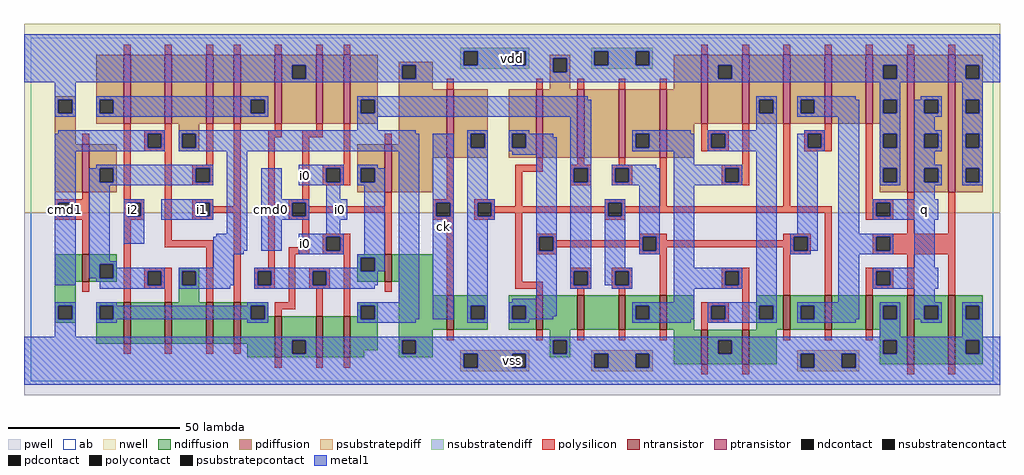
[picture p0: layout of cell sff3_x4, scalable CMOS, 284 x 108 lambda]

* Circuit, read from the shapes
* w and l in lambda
.subckt sff3_x4 ck cmd0 cmd1 i0 i1 i2 q vdd vss
M1 n1 cmd1 vss vss nfet w=8 l=2
M2 n2 i2 n3 vss nfet w=12 l=2
M3 n4 n1 n2 vss nfet w=12 l=2
M4 n5 cmd1 n4 vss nfet w=12 l=2
M5 n3 i1 n5 vss nfet w=12 l=2
M6 vss cmd0 n3 vss nfet w=12 l=2
M7 n6 n7 vss vss nfet w=12 l=2
M8 n4 i0 n6 vss nfet w=12 l=2
M9 vss cmd0 n7 vss nfet w=8 l=2
M10 n8 ck vss vss nfet w=10 l=2
M11 vss n8 n9 vss nfet w=10 l=2
M12 n10 n4 vss vss nfet w=10 l=2
M13 n11 n8 n10 vss nfet w=10 l=2
M14 n12 n9 n11 vss nfet w=10 l=2
M15 vss n13 n12 vss nfet w=10 l=2
M16 n13 n11 vss vss nfet w=10 l=2
M17 n14 n9 n13 vss nfet w=10 l=2
M18 n15 n8 n14 vss nfet w=10 l=2
M19 vss q n15 vss nfet w=10 l=2
M20 q n14 vss vss nfet w=20 l=2 m=2
M21 n1 cmd1 vdd vdd pfet w=14 l=2
M22 n16 i2 n17 vdd pfet w=20 l=2
M23 n4 cmd1 n16 vdd pfet w=20 l=2
M24 n18 n1 n4 vdd pfet w=20 l=2
M25 n17 i1 n18 vdd pfet w=20 l=2
M26 vdd n7 n17 vdd pfet w=20 l=2
M27 n19 cmd0 vdd vdd pfet w=20 l=2
M28 n4 i0 n19 vdd pfet w=20 l=2
M29 vdd cmd0 n7 vdd pfet w=14 l=2
M30 n8 ck vdd vdd pfet w=20 l=2
M31 vdd n8 n9 vdd pfet w=20 l=2
M32 n20 n4 vdd vdd pfet w=20 l=2
M33 n11 n9 n20 vdd pfet w=20 l=2
M34 n21 n8 n11 vdd pfet w=20 l=2
M35 vdd n13 n21 vdd pfet w=20 l=2
M36 n13 n11 vdd vdd pfet w=20 l=2
M37 n14 n8 n13 vdd pfet w=20 l=2
M38 n22 n9 n14 vdd pfet w=20 l=2
M39 vdd q n22 vdd pfet w=20 l=2
M40 q n14 vdd vdd pfet w=40 l=2 m=2
.ends

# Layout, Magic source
magic
tech scmos
<< ab >>
rect 0 0 280 100
<< pwell >>
rect -2 -4 282 49
<< nwell >>
rect -2 49 282 104
<< polysilicon >>
rect 27 95 29 98
rect 39 95 41 98
rect 51 95 53 98
rect 59 95 61 98
rect 71 95 73 98
rect 83 95 85 98
rect 91 95 93 98
rect 195 95 197 98
rect 207 95 209 98
rect 219 95 221 98
rect 231 95 233 98
rect 243 95 245 98
rect 255 95 257 98
rect 267 95 269 98
rect 121 85 123 88
rect 147 85 149 88
rect 159 85 161 88
rect 171 85 173 88
rect 183 85 185 88
rect 15 69 17 72
rect 15 53 17 55
rect 7 52 17 53
rect 7 48 8 52
rect 12 48 17 52
rect 7 47 17 48
rect 15 37 17 47
rect 27 53 29 75
rect 39 73 41 75
rect 33 72 41 73
rect 33 68 34 72
rect 38 68 41 72
rect 33 67 41 68
rect 27 52 33 53
rect 27 48 28 52
rect 32 48 33 52
rect 27 47 33 48
rect 15 26 17 29
rect 27 23 29 47
rect 39 41 41 67
rect 51 63 53 75
rect 47 62 53 63
rect 47 58 48 62
rect 52 58 53 62
rect 47 57 53 58
rect 47 52 53 53
rect 47 48 48 52
rect 52 51 53 52
rect 59 51 61 75
rect 71 73 73 75
rect 83 73 85 75
rect 52 49 61 51
rect 52 48 53 49
rect 47 47 53 48
rect 39 39 53 41
rect 33 32 41 33
rect 33 28 34 32
rect 38 28 41 32
rect 33 27 41 28
rect 39 23 41 27
rect 51 23 53 39
rect 59 23 61 49
rect 69 71 73 73
rect 79 71 85 73
rect 69 33 71 71
rect 79 53 81 71
rect 91 63 93 75
rect 103 69 105 72
rect 85 62 93 63
rect 85 58 86 62
rect 90 58 93 62
rect 85 57 93 58
rect 195 73 197 75
rect 195 72 203 73
rect 195 68 198 72
rect 202 68 203 72
rect 195 67 203 68
rect 75 52 81 53
rect 75 48 76 52
rect 80 51 81 52
rect 103 51 105 55
rect 121 53 123 65
rect 147 63 149 65
rect 159 63 161 65
rect 171 63 173 65
rect 141 61 149 63
rect 157 62 163 63
rect 80 49 105 51
rect 80 48 81 49
rect 75 47 81 48
rect 79 39 81 47
rect 65 32 71 33
rect 65 28 66 32
rect 70 28 71 32
rect 65 27 71 28
rect 75 37 81 39
rect 85 42 93 43
rect 85 38 86 42
rect 90 38 93 42
rect 85 37 93 38
rect 103 37 105 49
rect 117 52 123 53
rect 117 48 118 52
rect 122 48 123 52
rect 117 47 123 48
rect 129 52 135 53
rect 129 48 130 52
rect 134 51 135 52
rect 141 51 143 61
rect 157 58 158 62
rect 162 58 163 62
rect 157 57 163 58
rect 169 62 175 63
rect 169 58 170 62
rect 174 58 175 62
rect 169 57 175 58
rect 167 52 173 53
rect 167 51 168 52
rect 134 49 168 51
rect 134 48 135 49
rect 129 47 135 48
rect 75 23 77 37
rect 81 32 87 33
rect 81 28 82 32
rect 86 28 87 32
rect 81 27 87 28
rect 71 21 77 23
rect 71 19 73 21
rect 83 19 85 27
rect 91 19 93 37
rect 103 26 105 29
rect 121 25 123 47
rect 141 29 143 49
rect 167 48 168 49
rect 172 51 173 52
rect 183 51 185 65
rect 207 63 209 75
rect 201 62 209 63
rect 201 58 202 62
rect 206 58 209 62
rect 201 57 209 58
rect 219 51 221 75
rect 231 73 233 75
rect 225 72 233 73
rect 225 68 226 72
rect 230 68 233 72
rect 225 67 233 68
rect 243 53 245 75
rect 243 52 251 53
rect 172 49 233 51
rect 172 48 173 49
rect 167 47 173 48
rect 147 42 153 43
rect 147 38 148 42
rect 152 41 153 42
rect 177 42 185 43
rect 177 41 178 42
rect 152 39 178 41
rect 152 38 153 39
rect 147 37 153 38
rect 177 38 178 39
rect 182 41 185 42
rect 219 42 227 43
rect 219 41 222 42
rect 182 39 222 41
rect 182 38 185 39
rect 177 37 185 38
rect 157 32 163 33
rect 141 27 149 29
rect 157 28 158 32
rect 162 28 163 32
rect 157 27 163 28
rect 169 32 175 33
rect 169 28 170 32
rect 174 28 175 32
rect 169 27 175 28
rect 147 25 149 27
rect 159 25 161 27
rect 171 25 173 27
rect 183 25 185 37
rect 219 38 222 39
rect 226 38 227 42
rect 219 37 227 38
rect 201 32 209 33
rect 201 28 202 32
rect 206 28 209 32
rect 201 27 209 28
rect 27 8 29 11
rect 39 8 41 11
rect 51 8 53 11
rect 59 8 61 11
rect 195 22 203 23
rect 195 18 198 22
rect 202 18 203 22
rect 195 17 203 18
rect 195 15 197 17
rect 207 15 209 27
rect 219 25 221 37
rect 231 25 233 49
rect 243 48 246 52
rect 250 48 251 52
rect 243 47 251 48
rect 255 43 257 55
rect 267 43 269 55
rect 245 42 269 43
rect 245 38 246 42
rect 250 38 269 42
rect 245 37 269 38
rect 243 32 251 33
rect 243 28 246 32
rect 250 28 251 32
rect 243 27 251 28
rect 243 25 245 27
rect 255 25 257 37
rect 267 25 269 37
rect 121 12 123 15
rect 147 12 149 15
rect 159 12 161 15
rect 171 12 173 15
rect 183 12 185 15
rect 71 4 73 7
rect 83 4 85 7
rect 91 4 93 7
rect 219 12 221 15
rect 231 12 233 15
rect 243 12 245 15
rect 195 2 197 5
rect 207 2 209 5
rect 255 2 257 5
rect 267 2 269 5
<< ndiffusion >>
rect 7 29 15 37
rect 17 34 25 37
rect 17 30 20 34
rect 24 30 25 34
rect 17 29 25 30
rect 7 22 13 29
rect 43 32 49 33
rect 43 28 44 32
rect 48 28 49 32
rect 43 23 49 28
rect 7 18 8 22
rect 12 18 13 22
rect 7 17 13 18
rect 19 22 27 23
rect 19 18 20 22
rect 24 18 27 22
rect 19 11 27 18
rect 29 11 39 23
rect 41 11 51 23
rect 53 11 59 23
rect 61 22 69 23
rect 61 18 64 22
rect 68 19 69 22
rect 95 36 103 37
rect 95 32 96 36
rect 100 32 103 36
rect 95 29 103 32
rect 105 29 117 37
rect 107 25 117 29
rect 95 22 101 23
rect 95 19 96 22
rect 68 18 71 19
rect 61 11 71 18
rect 63 7 71 11
rect 73 12 83 19
rect 73 8 76 12
rect 80 8 83 12
rect 73 7 83 8
rect 85 7 91 19
rect 93 18 96 19
rect 100 18 101 22
rect 93 9 101 18
rect 107 15 121 25
rect 123 22 133 25
rect 123 18 128 22
rect 132 18 133 22
rect 123 15 133 18
rect 139 22 147 25
rect 139 18 140 22
rect 144 18 147 22
rect 139 15 147 18
rect 149 15 159 25
rect 161 15 171 25
rect 173 22 183 25
rect 173 18 176 22
rect 180 18 183 22
rect 173 15 183 18
rect 185 15 193 25
rect 211 22 219 25
rect 211 18 212 22
rect 216 18 219 22
rect 211 15 219 18
rect 221 22 231 25
rect 221 18 224 22
rect 228 18 231 22
rect 221 15 231 18
rect 233 15 243 25
rect 245 22 255 25
rect 245 18 248 22
rect 252 18 255 22
rect 245 15 255 18
rect 107 12 117 15
rect 151 12 157 15
rect 93 7 97 9
rect 107 8 108 12
rect 112 8 117 12
rect 107 7 117 8
rect 151 8 152 12
rect 156 8 157 12
rect 151 7 157 8
rect 187 5 195 15
rect 197 12 207 15
rect 197 8 200 12
rect 204 8 207 12
rect 197 5 207 8
rect 209 5 217 15
rect 247 12 255 15
rect 247 8 248 12
rect 252 8 255 12
rect 247 5 255 8
rect 257 22 267 25
rect 257 18 260 22
rect 264 18 267 22
rect 257 5 267 18
rect 269 22 277 25
rect 269 18 272 22
rect 276 18 277 22
rect 269 12 277 18
rect 269 8 272 12
rect 276 8 277 12
rect 269 5 277 8
<< pdiffusion >>
rect 7 82 13 83
rect 7 78 8 82
rect 12 78 13 82
rect 7 69 13 78
rect 19 82 27 95
rect 19 78 20 82
rect 24 78 27 82
rect 19 75 27 78
rect 29 75 39 95
rect 41 75 51 95
rect 53 75 59 95
rect 61 82 71 95
rect 61 78 64 82
rect 68 78 71 82
rect 61 75 71 78
rect 73 92 83 95
rect 73 88 76 92
rect 80 88 83 92
rect 73 75 83 88
rect 85 75 91 95
rect 93 82 101 95
rect 93 78 96 82
rect 100 78 101 82
rect 93 75 101 78
rect 107 92 117 93
rect 107 88 108 92
rect 112 88 117 92
rect 151 94 157 95
rect 151 90 152 94
rect 156 90 157 94
rect 107 85 117 88
rect 151 85 157 90
rect 187 85 195 95
rect 7 55 15 69
rect 17 62 25 69
rect 17 58 20 62
rect 24 58 25 62
rect 17 55 25 58
rect 43 72 49 75
rect 43 68 44 72
rect 48 68 49 72
rect 43 67 49 68
rect 107 69 121 85
rect 95 62 103 69
rect 95 58 96 62
rect 100 58 103 62
rect 95 55 103 58
rect 105 65 121 69
rect 123 72 133 85
rect 123 68 128 72
rect 132 68 133 72
rect 123 65 133 68
rect 139 72 147 85
rect 139 68 140 72
rect 144 68 147 72
rect 139 65 147 68
rect 149 65 159 85
rect 161 65 171 85
rect 173 72 183 85
rect 173 68 176 72
rect 180 68 183 72
rect 173 65 183 68
rect 185 75 195 85
rect 197 92 207 95
rect 197 88 200 92
rect 204 88 207 92
rect 197 75 207 88
rect 209 82 219 95
rect 209 78 212 82
rect 216 78 219 82
rect 209 75 219 78
rect 221 82 231 95
rect 221 78 224 82
rect 228 78 231 82
rect 221 75 231 78
rect 233 75 243 95
rect 245 92 255 95
rect 245 88 248 92
rect 252 88 255 92
rect 245 82 255 88
rect 245 78 248 82
rect 252 78 255 82
rect 245 75 255 78
rect 185 65 193 75
rect 105 55 117 65
rect 247 72 255 75
rect 247 68 248 72
rect 252 68 255 72
rect 247 62 255 68
rect 247 58 248 62
rect 252 58 255 62
rect 247 55 255 58
rect 257 82 267 95
rect 257 78 260 82
rect 264 78 267 82
rect 257 72 267 78
rect 257 68 260 72
rect 264 68 267 72
rect 257 62 267 68
rect 257 58 260 62
rect 264 58 267 62
rect 257 55 267 58
rect 269 92 277 95
rect 269 88 272 92
rect 276 88 277 92
rect 269 82 277 88
rect 269 78 272 82
rect 276 78 277 82
rect 269 72 277 78
rect 269 68 272 72
rect 276 68 277 72
rect 269 62 277 68
rect 269 58 272 62
rect 276 58 277 62
rect 269 55 277 58
<< metal1 >>
rect -2 96 282 101
rect -2 92 126 96
rect 130 92 140 96
rect 144 94 164 96
rect 144 92 152 94
rect -2 88 76 92
rect 80 88 108 92
rect 112 90 152 92
rect 156 92 164 94
rect 168 92 176 96
rect 180 92 282 96
rect 156 90 200 92
rect 112 88 200 90
rect 204 88 248 92
rect 252 88 272 92
rect 276 88 282 92
rect -2 87 282 88
rect 7 82 13 87
rect 7 78 8 82
rect 12 78 13 82
rect 7 77 13 78
rect 19 82 69 83
rect 19 78 20 82
rect 24 78 64 82
rect 68 78 69 82
rect 19 77 69 78
rect 95 82 162 83
rect 211 82 217 83
rect 95 78 96 82
rect 100 78 163 82
rect 95 77 163 78
rect 95 73 101 77
rect 8 72 39 73
rect 7 68 34 72
rect 38 68 39 72
rect 7 67 39 68
rect 43 72 112 73
rect 127 72 133 73
rect 43 68 44 72
rect 48 68 113 72
rect 43 67 113 68
rect 7 52 13 67
rect 19 62 53 63
rect 7 48 8 52
rect 12 48 13 52
rect 7 28 13 48
rect 17 58 20 62
rect 24 58 48 62
rect 52 58 53 62
rect 17 57 53 58
rect 17 35 23 57
rect 27 52 33 53
rect 27 48 28 52
rect 32 48 33 52
rect 27 40 33 48
rect 38 52 53 53
rect 38 48 48 52
rect 52 48 53 52
rect 38 47 53 48
rect 57 43 63 67
rect 78 62 91 63
rect 54 42 63 43
rect 53 38 63 42
rect 67 53 73 62
rect 78 58 86 62
rect 90 58 91 62
rect 78 57 91 58
rect 95 62 101 63
rect 95 58 96 62
rect 100 58 103 62
rect 95 57 103 58
rect 86 53 90 57
rect 67 52 81 53
rect 67 48 76 52
rect 80 48 81 52
rect 67 47 81 48
rect 86 47 92 53
rect 67 38 73 47
rect 86 43 90 47
rect 78 42 91 43
rect 78 38 86 42
rect 90 38 91 42
rect 53 37 62 38
rect 78 37 91 38
rect 97 37 103 57
rect 17 34 25 35
rect 17 30 20 34
rect 24 33 25 34
rect 53 33 59 37
rect 95 36 103 37
rect 95 33 96 36
rect 24 32 39 33
rect 24 30 34 32
rect 19 29 34 30
rect 20 28 34 29
rect 38 28 39 32
rect 20 27 39 28
rect 43 32 59 33
rect 43 28 44 32
rect 48 28 59 32
rect 65 32 96 33
rect 100 32 103 36
rect 65 28 66 32
rect 70 28 82 32
rect 86 28 101 32
rect 43 27 58 28
rect 65 27 100 28
rect 107 23 113 67
rect 7 22 13 23
rect 7 18 8 22
rect 12 18 13 22
rect 7 13 13 18
rect 19 22 25 23
rect 63 22 69 23
rect 19 18 20 22
rect 24 18 64 22
rect 68 18 69 22
rect 19 17 25 18
rect 63 17 69 18
rect 95 22 113 23
rect 95 18 96 22
rect 100 18 113 22
rect 117 52 123 72
rect 117 48 118 52
rect 122 48 123 52
rect 117 18 123 48
rect 127 68 128 72
rect 132 68 133 72
rect 127 53 133 68
rect 139 72 145 73
rect 139 68 140 72
rect 144 71 152 72
rect 144 68 153 71
rect 139 67 153 68
rect 140 66 153 67
rect 127 52 135 53
rect 127 48 130 52
rect 134 48 135 52
rect 127 47 135 48
rect 127 22 133 47
rect 147 42 153 66
rect 147 38 148 42
rect 152 38 153 42
rect 147 24 153 38
rect 157 62 163 77
rect 211 78 212 82
rect 216 78 217 82
rect 211 73 217 78
rect 223 82 240 83
rect 247 82 253 87
rect 259 82 265 83
rect 223 78 224 82
rect 228 78 241 82
rect 223 77 241 78
rect 175 72 192 73
rect 197 72 217 73
rect 225 72 231 73
rect 175 68 176 72
rect 180 68 193 72
rect 175 67 193 68
rect 197 68 198 72
rect 202 68 217 72
rect 197 67 217 68
rect 187 63 193 67
rect 157 58 158 62
rect 162 58 163 62
rect 157 32 163 58
rect 169 62 182 63
rect 187 62 207 63
rect 169 58 170 62
rect 174 58 183 62
rect 169 57 183 58
rect 157 28 158 32
rect 162 28 163 32
rect 167 52 173 53
rect 167 48 168 52
rect 172 48 173 52
rect 167 33 173 48
rect 177 42 183 57
rect 177 38 178 42
rect 182 38 183 42
rect 177 37 183 38
rect 187 58 202 62
rect 206 58 207 62
rect 187 57 207 58
rect 187 33 193 57
rect 167 32 175 33
rect 167 28 170 32
rect 174 28 175 32
rect 157 27 163 28
rect 169 27 175 28
rect 187 32 207 33
rect 187 28 202 32
rect 206 28 207 32
rect 187 27 207 28
rect 140 23 153 24
rect 187 23 193 27
rect 211 23 217 67
rect 223 68 226 72
rect 230 68 231 72
rect 223 67 231 68
rect 223 43 229 67
rect 221 42 229 43
rect 221 38 222 42
rect 226 38 229 42
rect 235 43 241 77
rect 247 78 248 82
rect 252 78 253 82
rect 247 72 253 78
rect 247 68 248 72
rect 252 68 253 72
rect 247 62 253 68
rect 247 58 248 62
rect 252 58 253 62
rect 247 57 253 58
rect 257 78 260 82
rect 264 78 265 82
rect 257 77 265 78
rect 271 82 277 87
rect 271 78 272 82
rect 276 78 277 82
rect 257 73 263 77
rect 257 72 265 73
rect 257 68 260 72
rect 264 68 265 72
rect 257 67 265 68
rect 271 72 277 78
rect 271 68 272 72
rect 276 68 277 72
rect 257 63 263 67
rect 257 62 265 63
rect 257 58 260 62
rect 264 58 265 62
rect 257 57 265 58
rect 271 62 277 68
rect 271 58 272 62
rect 276 58 277 62
rect 271 57 277 58
rect 257 53 263 57
rect 245 52 264 53
rect 245 48 246 52
rect 250 48 264 52
rect 245 47 264 48
rect 235 42 251 43
rect 235 38 246 42
rect 250 38 251 42
rect 221 37 227 38
rect 235 37 251 38
rect 235 23 241 37
rect 257 33 263 47
rect 245 32 264 33
rect 245 28 246 32
rect 250 28 264 32
rect 245 27 264 28
rect 257 23 263 27
rect 127 18 128 22
rect 132 18 133 22
rect 95 17 112 18
rect 127 17 133 18
rect 139 22 153 23
rect 139 18 140 22
rect 144 19 153 22
rect 175 22 193 23
rect 144 18 152 19
rect 175 18 176 22
rect 180 18 193 22
rect 197 22 217 23
rect 197 18 198 22
rect 202 18 212 22
rect 216 18 217 22
rect 139 17 145 18
rect 175 17 192 18
rect 197 17 217 18
rect 223 22 241 23
rect 223 18 224 22
rect 228 18 241 22
rect 247 22 253 23
rect 247 18 248 22
rect 252 18 253 22
rect 257 22 265 23
rect 257 18 260 22
rect 264 18 265 22
rect 223 17 240 18
rect 247 13 253 18
rect 259 17 265 18
rect 271 22 277 23
rect 271 18 272 22
rect 276 18 277 22
rect 271 13 277 18
rect -2 12 282 13
rect -2 8 76 12
rect 80 8 108 12
rect 112 8 152 12
rect 156 8 200 12
rect 204 8 248 12
rect 252 8 272 12
rect 276 8 282 12
rect -2 4 126 8
rect 130 4 140 8
rect 144 4 164 8
rect 168 4 176 8
rect 180 4 224 8
rect 228 4 236 8
rect 240 4 282 8
rect -2 -1 282 4
<< ntransistor >>
rect 15 29 17 37
rect 27 11 29 23
rect 39 11 41 23
rect 51 11 53 23
rect 59 11 61 23
rect 103 29 105 37
rect 71 7 73 19
rect 83 7 85 19
rect 91 7 93 19
rect 121 15 123 25
rect 147 15 149 25
rect 159 15 161 25
rect 171 15 173 25
rect 183 15 185 25
rect 219 15 221 25
rect 231 15 233 25
rect 243 15 245 25
rect 195 5 197 15
rect 207 5 209 15
rect 255 5 257 25
rect 267 5 269 25
<< ptransistor >>
rect 27 75 29 95
rect 39 75 41 95
rect 51 75 53 95
rect 59 75 61 95
rect 71 75 73 95
rect 83 75 85 95
rect 91 75 93 95
rect 15 55 17 69
rect 103 55 105 69
rect 121 65 123 85
rect 147 65 149 85
rect 159 65 161 85
rect 171 65 173 85
rect 183 65 185 85
rect 195 75 197 95
rect 207 75 209 95
rect 219 75 221 95
rect 231 75 233 95
rect 243 75 245 95
rect 255 55 257 95
rect 267 55 269 95
<< polycontact >>
rect 8 48 12 52
rect 34 68 38 72
rect 28 48 32 52
rect 48 58 52 62
rect 48 48 52 52
rect 34 28 38 32
rect 86 58 90 62
rect 198 68 202 72
rect 76 48 80 52
rect 66 28 70 32
rect 86 38 90 42
rect 118 48 122 52
rect 130 48 134 52
rect 158 58 162 62
rect 170 58 174 62
rect 82 28 86 32
rect 168 48 172 52
rect 202 58 206 62
rect 226 68 230 72
rect 148 38 152 42
rect 178 38 182 42
rect 158 28 162 32
rect 170 28 174 32
rect 222 38 226 42
rect 202 28 206 32
rect 198 18 202 22
rect 246 48 250 52
rect 246 38 250 42
rect 246 28 250 32
<< ndcontact >>
rect 20 30 24 34
rect 44 28 48 32
rect 8 18 12 22
rect 20 18 24 22
rect 64 18 68 22
rect 96 32 100 36
rect 76 8 80 12
rect 96 18 100 22
rect 128 18 132 22
rect 140 18 144 22
rect 176 18 180 22
rect 212 18 216 22
rect 224 18 228 22
rect 248 18 252 22
rect 108 8 112 12
rect 152 8 156 12
rect 200 8 204 12
rect 248 8 252 12
rect 260 18 264 22
rect 272 18 276 22
rect 272 8 276 12
<< pdcontact >>
rect 8 78 12 82
rect 20 78 24 82
rect 64 78 68 82
rect 76 88 80 92
rect 96 78 100 82
rect 108 88 112 92
rect 152 90 156 94
rect 20 58 24 62
rect 44 68 48 72
rect 96 58 100 62
rect 128 68 132 72
rect 140 68 144 72
rect 176 68 180 72
rect 200 88 204 92
rect 212 78 216 82
rect 224 78 228 82
rect 248 88 252 92
rect 248 78 252 82
rect 248 68 252 72
rect 248 58 252 62
rect 260 78 264 82
rect 260 68 264 72
rect 260 58 264 62
rect 272 88 276 92
rect 272 78 276 82
rect 272 68 276 72
rect 272 58 276 62
<< psubstratepcontact >>
rect 126 4 130 8
rect 140 4 144 8
rect 164 4 168 8
rect 176 4 180 8
rect 224 4 228 8
rect 236 4 240 8
<< nsubstratencontact >>
rect 126 92 130 96
rect 140 92 144 96
rect 164 92 168 96
rect 176 92 180 96
<< psubstratepdiff >>
rect 125 8 145 9
rect 125 4 126 8
rect 130 4 140 8
rect 144 4 145 8
rect 163 8 181 9
rect 125 3 145 4
rect 163 4 164 8
rect 168 4 176 8
rect 180 4 181 8
rect 223 8 241 9
rect 163 3 181 4
rect 223 4 224 8
rect 228 4 236 8
rect 240 4 241 8
rect 223 3 241 4
<< nsubstratendiff >>
rect 125 96 145 97
rect 125 92 126 96
rect 130 92 140 96
rect 144 92 145 96
rect 163 96 181 97
rect 125 91 145 92
rect 163 92 164 96
rect 168 92 176 96
rect 180 92 181 96
rect 163 91 181 92
<< labels >>
rlabel polycontact 30 50 30 50 6 i2
rlabel polycontact 10 50 10 50 6 cmd1
rlabel polycontact 30 50 30 50 6 i2
rlabel polycontact 10 50 10 50 6 cmd1
rlabel metal1 80 40 80 40 6 i0
rlabel metal1 80 40 80 40 6 i0
rlabel polycontact 50 50 50 50 6 i1
rlabel metal1 70 50 70 50 6 cmd0
rlabel metal1 90 50 90 50 6 i0
rlabel metal1 90 50 90 50 6 i0
rlabel metal1 70 50 70 50 6 cmd0
rlabel polycontact 50 50 50 50 6 i1
rlabel metal1 80 60 80 60 6 i0
rlabel metal1 80 60 80 60 6 i0
rlabel metal1 120 45 120 45 6 ck
rlabel metal1 120 45 120 45 6 ck
rlabel metal1 140 6 140 6 6 vss
rlabel metal1 140 6 140 6 6 vss
rlabel metal1 140 94 140 94 6 vdd
rlabel metal1 140 94 140 94 6 vdd
rlabel metal1 260 50 260 50 6 q
rlabel metal1 260 50 260 50 6 q
<< end >>
